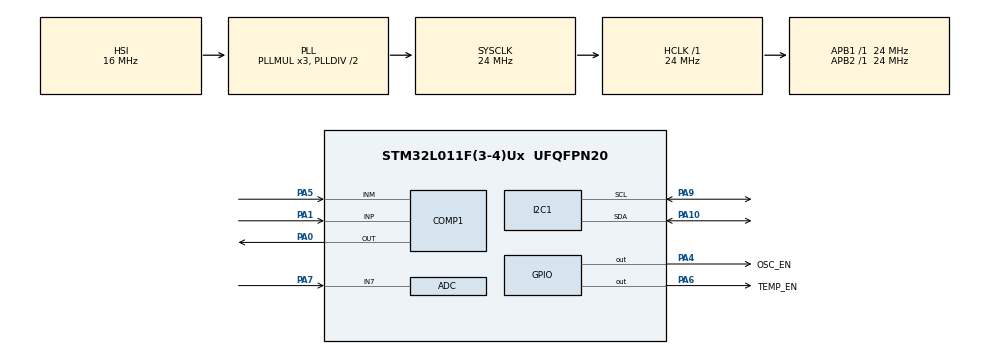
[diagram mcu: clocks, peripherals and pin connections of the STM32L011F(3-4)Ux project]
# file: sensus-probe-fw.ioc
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ADC.OversamplingMode=DISABLE
ADC.SamplingTime=ADC_SAMPLETIME_160CYCLES_5
COMP1.LPTIMConnection=COMP_LPTIMCONNECTION_IN1_ENABLED
COMP1.TriggerMode=COMP_TRIGGERMODE_NONE
Dma.ADC.0.Direction=DMA_PERIPH_TO_MEMORY
Dma.ADC.0.Instance=DMA1_Channel1
Dma.ADC.0.MemDataAlignment=DMA_MDATAALIGN_WORD
Dma.ADC.0.MemInc=DMA_MINC_ENABLE
Dma.ADC.0.Mode=DMA_NORMAL
Dma.ADC.0.PeriphDataAlignment=DMA_PDATAALIGN_WORD
Dma.ADC.0.PeriphInc=DMA_PINC_DISABLE
Dma.ADC.0.Priority=DMA_PRIORITY_LOW
Dma.I2C1_RX.1.Direction=DMA_PERIPH_TO_MEMORY
Dma.I2C1_RX.1.Instance=DMA1_Channel3
Dma.I2C1_RX.1.MemDataAlignment=DMA_MDATAALIGN_BYTE
Dma.I2C1_RX.1.MemInc=DMA_MINC_ENABLE
Dma.I2C1_RX.1.Mode=DMA_NORMAL
Dma.I2C1_RX.1.PeriphDataAlignment=DMA_PDATAALIGN_BYTE
Dma.I2C1_RX.1.PeriphInc=DMA_PINC_DISABLE
Dma.I2C1_RX.1.Priority=DMA_PRIORITY_LOW
Dma.Request0=ADC
Dma.Request1=I2C1_RX
I2C1.OwnAddress=94
I2C1.Timing=0x00506682
LPTIM1.TriggerSource=LPTIM_TRIGSOURCE_6
Mcu.Family=STM32L0
Mcu.Name=STM32L011F(3-4)Ux
Mcu.Package=UFQFPN20
NVIC.DMA1_Channel1_IRQn=true\:0\:0\:false\:false\:true\:false\:true\:true
NVIC.DMA1_Channel2_3_IRQn=true\:0\:0\:false\:false\:true\:false\:true\:true
NVIC.I2C1_IRQn=true\:0\:0\:false\:false\:true\:true\:true\:true
NVIC.LPTIM1_IRQn=true\:0\:0\:false\:false\:true\:true\:true\:true
PA0-CK_IN.Mode=ExternalOutput
PA0-CK_IN.Signal=COMP1_OUT
PA1.Mode=INP
PA1.Signal=COMP1_INP
PA10.Mode=I2C
PA10.Signal=I2C1_SDA
PA13.Mode=Serial_Wire
PA13.Signal=SYS_SWDIO
PA14.Mode=Serial_Wire
PA14.Signal=SYS_SWCLK
PA4.GPIO_Label=OSC_EN
PA4.PinState=GPIO_PIN_SET
PA4.Signal=GPIO_Output
PA5.Mode=INM
PA5.Signal=COMP1_INM
PA6.GPIO_Label=TEMP_EN
PA6.PinState=GPIO_PIN_SET
PA6.Signal=GPIO_Output
PA7.Mode=IN7
PA7.Signal=ADC_IN7
PA9.Mode=I2C
PA9.Signal=I2C1_SCL
ProjectManager.HeapSize=0x200
ProjectManager.StackSize=0x400
ProjectManager.TargetToolchain=Makefile
RCC.AHBFreq_Value=24000000
RCC.APB1Freq_Value=24000000
RCC.APB1TimFreq_Value=24000000
RCC.APB2Freq_Value=24000000
RCC.APB2TimFreq_Value=24000000
RCC.HCLKFreq_Value=24000000
RCC.HSE_VALUE=8000000
RCC.HSI16_VALUE=16000000
RCC.HSI_VALUE=16000000
RCC.LSE_VALUE=32768
RCC.MSIClockRange=RCC_MSIRANGE_6
RCC.MSI_VALUE=4194000
RCC.SYSCLKFreq_VALUE=24000000
RCC.SYSCLKSource=RCC_SYSCLKSOURCE_PLLCLK
RCC.VCOOutputFreq_Value=48000000
VP_ADC_Vref_Input.Mode=IN-Vrefint
VP_LPTIM1_VS_COMP1_LPTIM.Mode=Counts_external_clock_standalone_1X_occur2
board=custom

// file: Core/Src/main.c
/* USER CODE BEGIN Header */
/**
 ******************************************************************************
 * @file           : main.c
 * @brief          : Main program body
 ******************************************************************************
 * @attention
 *
 * Copyright (c) 2023 STMicroelectronics.
 * All rights reserved.
 *
 * This software is licensed under terms that can be found in the LICENSE file
 * in the root directory of this software component.
 * If no LICENSE file comes with this software, it is provided AS-IS.
 *
 ******************************************************************************
 */
/* USER CODE END Header */
#include "main.h"

/* USER CODE BEGIN Includes */
#include "stm32l011xx.h"
#include "stm32l0xx_hal.h"
#include "stm32l0xx_hal_adc.h"
#include "stm32l0xx_hal_comp.h"
#include "stm32l0xx_hal_def.h"
#include "stm32l0xx_hal_lptim.h"
#include "stm32l0xx_hal_tim.h"
#include "stm32l0xx_ll_lptim.h"
#include <stdint.h>
/* USER CODE END Includes */

/* USER CODE BEGIN PD */
#define REF_VOLTAGE 1224
/* USER CODE END PD */

ADC_HandleTypeDef hadc;
DMA_HandleTypeDef hdma_adc;

COMP_HandleTypeDef hcomp1;

I2C_HandleTypeDef hi2c1;
DMA_HandleTypeDef hdma_i2c1_rx;

LPTIM_HandleTypeDef hlptim1;

/* USER CODE BEGIN PV */
TIM_HandleTypeDef TimHandle;
uint32_t value;
uint32_t buf[8];
volatile uint32_t counterVal;
/* USER CODE END PV */

void SystemClock_Config(void);
static void MX_GPIO_Init(void);
static void MX_DMA_Init(void);
static void MX_ADC_Init(void);
static void MX_COMP1_Init(void);
static void MX_I2C1_Init(void);
static void MX_LPTIM1_Init(void);

/* USER CODE BEGIN 0 */
volatile HAL_StatusTypeDef status = HAL_ERROR;
// volatile uint32_t mcp_voltage;
/* USER CODE END 0 */

int main(void) {

  /* MCU Configuration--------------------------------------------------------*/

  /* Reset of all peripherals, Initializes the Flash interface and the Systick.
   */
  HAL_Init();

  /* Configure the system clock */
  SystemClock_Config();

  /* Initialize all configured peripherals */
  MX_GPIO_Init();
  MX_DMA_Init();
  MX_ADC_Init();
  MX_COMP1_Init();
  MX_I2C1_Init();
  MX_LPTIM1_Init();
  /* USER CODE BEGIN 2 */

  // Initialize Low-power timer
  HAL_COMP_Start(&hcomp1);
  HAL_ADC_Start_DMA(&hadc, (uint32_t *)buf, 2);
  volatile uint32_t counter = 0;
  /* USER CODE END 2 */

  /* Infinite loop */
  /* USER CODE BEGIN WHILE */
  while (1) {
    HAL_LPTIM_Counter_Start(&hlptim1, 0xffff);
    HAL_Delay(100);
    counter = HAL_LPTIM_ReadCounter(&hlptim1);
    HAL_LPTIM_Counter_Stop(&hlptim1); // Clears counter
    // HAL_ADC_Start(&hadc);
    // status = HAL_ADC_PollForConversion(&hadc, UINT32_MAX);
    // val = HAL_ADC_GetValue(&hadc);
    /* USER CODE END WHILE */

  }
}

void SystemClock_Config(void) {
  RCC_OscInitTypeDef RCC_OscInitStruct = {0};
  RCC_ClkInitTypeDef RCC_ClkInitStruct = {0};
  RCC_PeriphCLKInitTypeDef PeriphClkInit = {0};

  /** Configure the main internal regulator output voltage
   */
  __HAL_PWR_VOLTAGESCALING_CONFIG(PWR_REGULATOR_VOLTAGE_SCALE1);

  /** Initializes the RCC Oscillators according to the specified parameters
   * in the RCC_OscInitTypeDef structure.
   */
  RCC_OscInitStruct.OscillatorType = RCC_OSCILLATORTYPE_HSI;
  RCC_OscInitStruct.HSIState = RCC_HSI_ON;
  RCC_OscInitStruct.HSICalibrationValue = RCC_HSICALIBRATION_DEFAULT;
  RCC_OscInitStruct.PLL.PLLState = RCC_PLL_ON;
  RCC_OscInitStruct.PLL.PLLSource = RCC_PLLSOURCE_HSI;
  RCC_OscInitStruct.PLL.PLLMUL = RCC_PLLMUL_3;
  RCC_OscInitStruct.PLL.PLLDIV = RCC_PLLDIV_2;
  if (HAL_RCC_OscConfig(&RCC_OscInitStruct) != HAL_OK) {
    Error_Handler();
  }

  /** Initializes the CPU, AHB and APB buses clocks
   */
  RCC_ClkInitStruct.ClockType = RCC_CLOCKTYPE_HCLK | RCC_CLOCKTYPE_SYSCLK |
                                RCC_CLOCKTYPE_PCLK1 | RCC_CLOCKTYPE_PCLK2;
  RCC_ClkInitStruct.SYSCLKSource = RCC_SYSCLKSOURCE_PLLCLK;
  RCC_ClkInitStruct.AHBCLKDivider = RCC_SYSCLK_DIV1;
  RCC_ClkInitStruct.APB1CLKDivider = RCC_HCLK_DIV1;
  RCC_ClkInitStruct.APB2CLKDivider = RCC_HCLK_DIV1;

  if (HAL_RCC_ClockConfig(&RCC_ClkInitStruct, FLASH_LATENCY_1) != HAL_OK) {
    Error_Handler();
  }
  PeriphClkInit.PeriphClockSelection =
      RCC_PERIPHCLK_I2C1 | RCC_PERIPHCLK_LPTIM1;
  PeriphClkInit.I2c1ClockSelection = RCC_I2C1CLKSOURCE_PCLK1;
  PeriphClkInit.LptimClockSelection = RCC_LPTIM1CLKSOURCE_PCLK;

  if (HAL_RCCEx_PeriphCLKConfig(&PeriphClkInit) != HAL_OK) {
    Error_Handler();
  }
}

static void MX_ADC_Init(void) {

  ADC_ChannelConfTypeDef sConfig = {0};

  /** Configure the global features of the ADC (Clock, Resolution, Data
   * Alignment and number of conversion)
   */
  hadc.Instance = ADC1;
  hadc.Init.OversamplingMode = DISABLE;
  hadc.Init.ClockPrescaler = ADC_CLOCK_SYNC_PCLK_DIV2;
  hadc.Init.Resolution = ADC_RESOLUTION_12B;
  hadc.Init.SamplingTime = ADC_SAMPLETIME_160CYCLES_5;
  hadc.Init.ScanConvMode = ADC_SCAN_DIRECTION_FORWARD;
  hadc.Init.DataAlign = ADC_DATAALIGN_RIGHT;
  hadc.Init.ContinuousConvMode = DISABLE;
  hadc.Init.DiscontinuousConvMode = DISABLE;
  hadc.Init.ExternalTrigConvEdge = ADC_EXTERNALTRIGCONVEDGE_NONE;
  hadc.Init.ExternalTrigConv = ADC_SOFTWARE_START;
  hadc.Init.DMAContinuousRequests = DISABLE;
  hadc.Init.EOCSelection = ADC_EOC_SINGLE_CONV;
  hadc.Init.Overrun = ADC_OVR_DATA_PRESERVED;
  hadc.Init.LowPowerAutoWait = DISABLE;
  hadc.Init.LowPowerFrequencyMode = DISABLE;
  hadc.Init.LowPowerAutoPowerOff = DISABLE;
  if (HAL_ADC_Init(&hadc) != HAL_OK) {
    Error_Handler();
  }

  /** Configure for the selected ADC regular channel to be converted.
   */
  sConfig.Channel = ADC_CHANNEL_7;
  sConfig.Rank = ADC_RANK_CHANNEL_NUMBER;
  if (HAL_ADC_ConfigChannel(&hadc, &sConfig) != HAL_OK) {
    Error_Handler();
  }

  /** Configure for the selected ADC regular channel to be converted.
   */
  sConfig.Channel = ADC_CHANNEL_VREFINT;
  if (HAL_ADC_ConfigChannel(&hadc, &sConfig) != HAL_OK) {
    Error_Handler();
  }
}

static void MX_COMP1_Init(void) {

  hcomp1.Instance = COMP1;
  hcomp1.Init.InvertingInput = COMP_INPUT_MINUS_DAC1_CH2;
  hcomp1.Init.NonInvertingInput = COMP_INPUT_PLUS_IO1;
  hcomp1.Init.LPTIMConnection = COMP_LPTIMCONNECTION_IN1_ENABLED;
  hcomp1.Init.OutputPol = COMP_OUTPUTPOL_NONINVERTED;
  hcomp1.Init.Mode = COMP_POWERMODE_ULTRALOWPOWER;
  hcomp1.Init.WindowMode = COMP_WINDOWMODE_DISABLE;
  hcomp1.Init.TriggerMode = COMP_TRIGGERMODE_NONE;
  if (HAL_COMP_Init(&hcomp1) != HAL_OK) {
    Error_Handler();
  }
}

static void MX_I2C1_Init(void) {

  hi2c1.Instance = I2C1;
  hi2c1.Init.Timing = 0x00506682;
  hi2c1.Init.OwnAddress1 = 188;
  hi2c1.Init.AddressingMode = I2C_ADDRESSINGMODE_7BIT;
  hi2c1.Init.DualAddressMode = I2C_DUALADDRESS_DISABLE;
  hi2c1.Init.OwnAddress2 = 0;
  hi2c1.Init.OwnAddress2Masks = I2C_OA2_NOMASK;
  hi2c1.Init.GeneralCallMode = I2C_GENERALCALL_DISABLE;
  hi2c1.Init.NoStretchMode = I2C_NOSTRETCH_DISABLE;
  if (HAL_I2C_Init(&hi2c1) != HAL_OK) {
    Error_Handler();
  }

  /** Configure Analogue filter
   */
  if (HAL_I2CEx_ConfigAnalogFilter(&hi2c1, I2C_ANALOGFILTER_ENABLE) != HAL_OK) {
    Error_Handler();
  }

  /** Configure Digital filter
   */
  if (HAL_I2CEx_ConfigDigitalFilter(&hi2c1, 0) != HAL_OK) {
    Error_Handler();
  }
}

static void MX_LPTIM1_Init(void) {

  hlptim1.Instance = LPTIM1;
  hlptim1.Init.Clock.Source = LPTIM_CLOCKSOURCE_ULPTIM;
  hlptim1.Init.Clock.Prescaler = LPTIM_PRESCALER_DIV1;
  hlptim1.Init.UltraLowPowerClock.Polarity = LPTIM_CLOCKPOLARITY_RISING;
  hlptim1.Init.UltraLowPowerClock.SampleTime =
      LPTIM_CLOCKSAMPLETIME_DIRECTTRANSITION;
  hlptim1.Init.Trigger.Source = LPTIM_TRIGSOURCE_6;
  hlptim1.Init.Trigger.ActiveEdge = LPTIM_ACTIVEEDGE_RISING;
  hlptim1.Init.Trigger.SampleTime = LPTIM_TRIGSAMPLETIME_DIRECTTRANSITION;
  hlptim1.Init.OutputPolarity = LPTIM_OUTPUTPOLARITY_HIGH;
  hlptim1.Init.UpdateMode = LPTIM_UPDATE_IMMEDIATE;
  hlptim1.Init.CounterSource = LPTIM_COUNTERSOURCE_EXTERNAL;
  if (HAL_LPTIM_Init(&hlptim1) != HAL_OK) {
    Error_Handler();
  }
}

static void MX_DMA_Init(void) {

  /* DMA controller clock enable */
  __HAL_RCC_DMA1_CLK_ENABLE();

  /* DMA interrupt init */
  /* DMA1_Channel1_IRQn interrupt configuration */
  HAL_NVIC_SetPriority(DMA1_Channel1_IRQn, 0, 0);
  HAL_NVIC_EnableIRQ(DMA1_Channel1_IRQn);
  /* DMA1_Channel2_3_IRQn interrupt configuration */
  HAL_NVIC_SetPriority(DMA1_Channel2_3_IRQn, 0, 0);
  HAL_NVIC_EnableIRQ(DMA1_Channel2_3_IRQn);
}

static void MX_GPIO_Init(void) {
  GPIO_InitTypeDef GPIO_InitStruct = {0};

  /* GPIO Ports Clock Enable */
  __HAL_RCC_GPIOC_CLK_ENABLE();
  __HAL_RCC_GPIOA_CLK_ENABLE();
  __HAL_RCC_GPIOB_CLK_ENABLE();

  /*Configure GPIO pin Output Level */
  HAL_GPIO_WritePin(GPIOA, OSC_EN_Pin | TEMP_EN_Pin, GPIO_PIN_SET);

  /*Configure GPIO pins : PC14 PC15 */
  GPIO_InitStruct.Pin = GPIO_PIN_14 | GPIO_PIN_15;
  GPIO_InitStruct.Mode = GPIO_MODE_ANALOG;
  GPIO_InitStruct.Pull = GPIO_NOPULL;
  HAL_GPIO_Init(GPIOC, &GPIO_InitStruct);

  /*Configure GPIO pins : OSC_EN_Pin TEMP_EN_Pin */
  GPIO_InitStruct.Pin = OSC_EN_Pin | TEMP_EN_Pin;
  GPIO_InitStruct.Mode = GPIO_MODE_OUTPUT_PP;
  GPIO_InitStruct.Pull = GPIO_NOPULL;
  GPIO_InitStruct.Speed = GPIO_SPEED_FREQ_LOW;
  HAL_GPIO_Init(GPIOA, &GPIO_InitStruct);

  /*Configure GPIO pins : PB1 PB6 PB7 */
  GPIO_InitStruct.Pin = GPIO_PIN_1 | GPIO_PIN_6 | GPIO_PIN_7;
  GPIO_InitStruct.Mode = GPIO_MODE_ANALOG;
  GPIO_InitStruct.Pull = GPIO_NOPULL;
  HAL_GPIO_Init(GPIOB, &GPIO_InitStruct);

}

/* USER CODE BEGIN 4 */
void foo() { value = (buf[0] * REF_VOLTAGE) / buf[1] - 500; }

void bar() {
  counterVal = HAL_LPTIM_ReadCounter(&hlptim1);
  HAL_LPTIM_Counter_Stop(&hlptim1);
  HAL_LPTIM_Counter_Start(&hlptim1, 0xffff);
}
/* USER CODE END 4 */

void Error_Handler(void) {
  __disable_irq();
  while (1) {
  }
}

#ifdef USE_FULL_ASSERT
/**
 * @brief  Reports the name of the source file and the source line number
 *         where the assert_param error has occurred.
 * @param  file: pointer to the source file name
 * @param  line: assert_param error line source number
 * @retval None
 */
void assert_failed(uint8_t *file, uint32_t line) {
  /* USER CODE BEGIN 6 */
  /* User can add his own implementation to report the file name and line
     number, ex: printf("Wrong parameters value: file %s on line %d\r\n", file,
     line) */
  /* USER CODE END 6 */
}
#endif /* USE_FULL_ASSERT */
